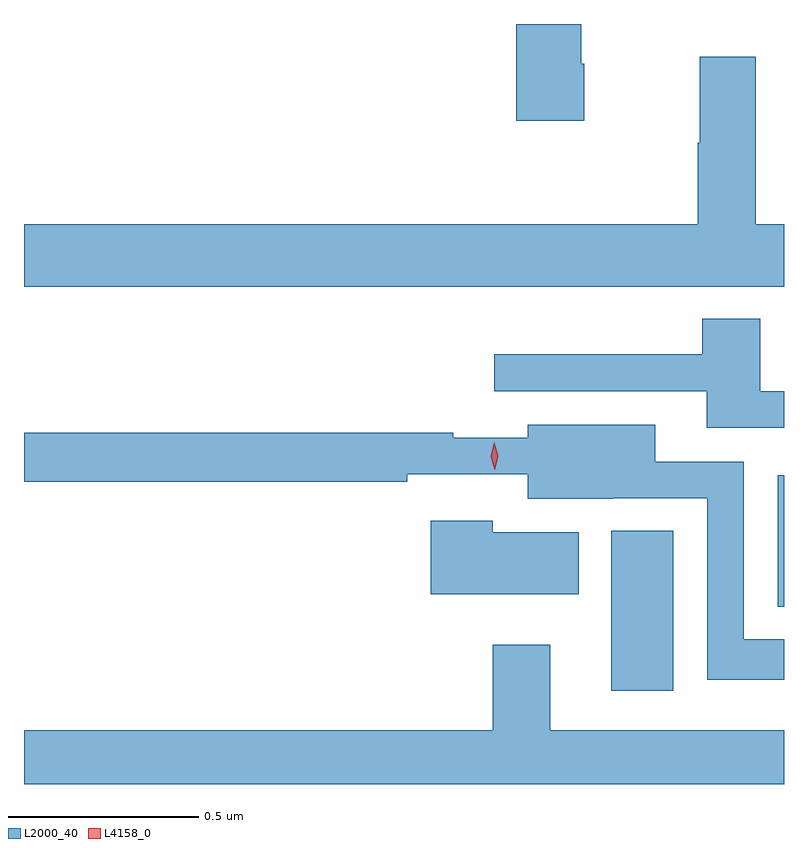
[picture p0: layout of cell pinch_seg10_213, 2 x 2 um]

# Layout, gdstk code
import gdstk
lib = gdstk.Library(unit=1e-6, precision=1e-09)
def R(c, l, rs):  # rectangles x0, y0, x1, y1
    for r in rs: c.add(gdstk.rectangle(r[:2], r[2:], *l))
def P(c, l, *ps):  # polygons
    for p in ps: c.add(gdstk.Polygon(p, *l))
L2000_40 = (2000, 40)
L4158_0 = (4158, 0)

pinch_seg10_213 = lib.new_cell('pinch_seg10_213')
R(pinch_seg10_213, L2000_40, [(869.765,1253.964,869.929,1254.385), (870.203,1254.185,870.22,1254.532), (869.984,1255.718,870.217,1255.719)])
P(pinch_seg10_213, L2000_40, [(869.694,1255.614),(869.686,1255.614),(869.686,1255.719),(869.516,1255.719),(869.516,1255.464),(869.694,1255.464)],
  [(870.22,1255.192),(870.145,1255.192),(870.145,1255.633),(869.998,1255.633),(869.998,1255.407),(869.993,1255.407),(869.993,1255.192),(868.22,1255.192),(868.22,1255.028),(870.22,1255.028)],
  [(870.22,1254.753),(870.157,1254.753),(870.157,1254.943),(870.005,1254.943),(870.005,1254.85),(869.457,1254.85),(869.457,1254.753),(870.017,1254.753),(870.017,1254.657),(870.22,1254.657)],
  [(870.22,1254.1),(870.114,1254.1),(870.114,1254.567),(869.881,1254.567),(869.881,1254.664),(869.546,1254.664),(869.546,1254.63),(869.35,1254.63),(869.35,1254.643),(868.22,1254.643),(868.22,1254.514),(869.228,1254.514),(869.228,1254.534),(869.546,1254.534),(869.546,1254.47),(869.769,1254.47),(869.769,1254.471),(870.018,1254.471),(870.018,1253.993),(870.22,1253.993)],
  [(869.68,1254.382),(869.454,1254.382),(869.454,1254.412),(869.291,1254.412),(869.291,1254.218),(869.68,1254.218)],
  [(870.22,1253.86),(869.605,1253.86),(869.605,1254.085),(869.453,1254.085),(869.453,1253.86),(868.22,1253.86),(868.22,1253.719),(870.22,1253.719)])
P(pinch_seg10_213, L4158_0, [(869.459,1254.546),(869.459,1254.546),(869.448,1254.582),(869.457,1254.617),(869.458,1254.618),(869.458,1254.617),(869.468,1254.582),(869.459,1254.546)])

lib.write_gds('pinch_seg10_213.gds')
